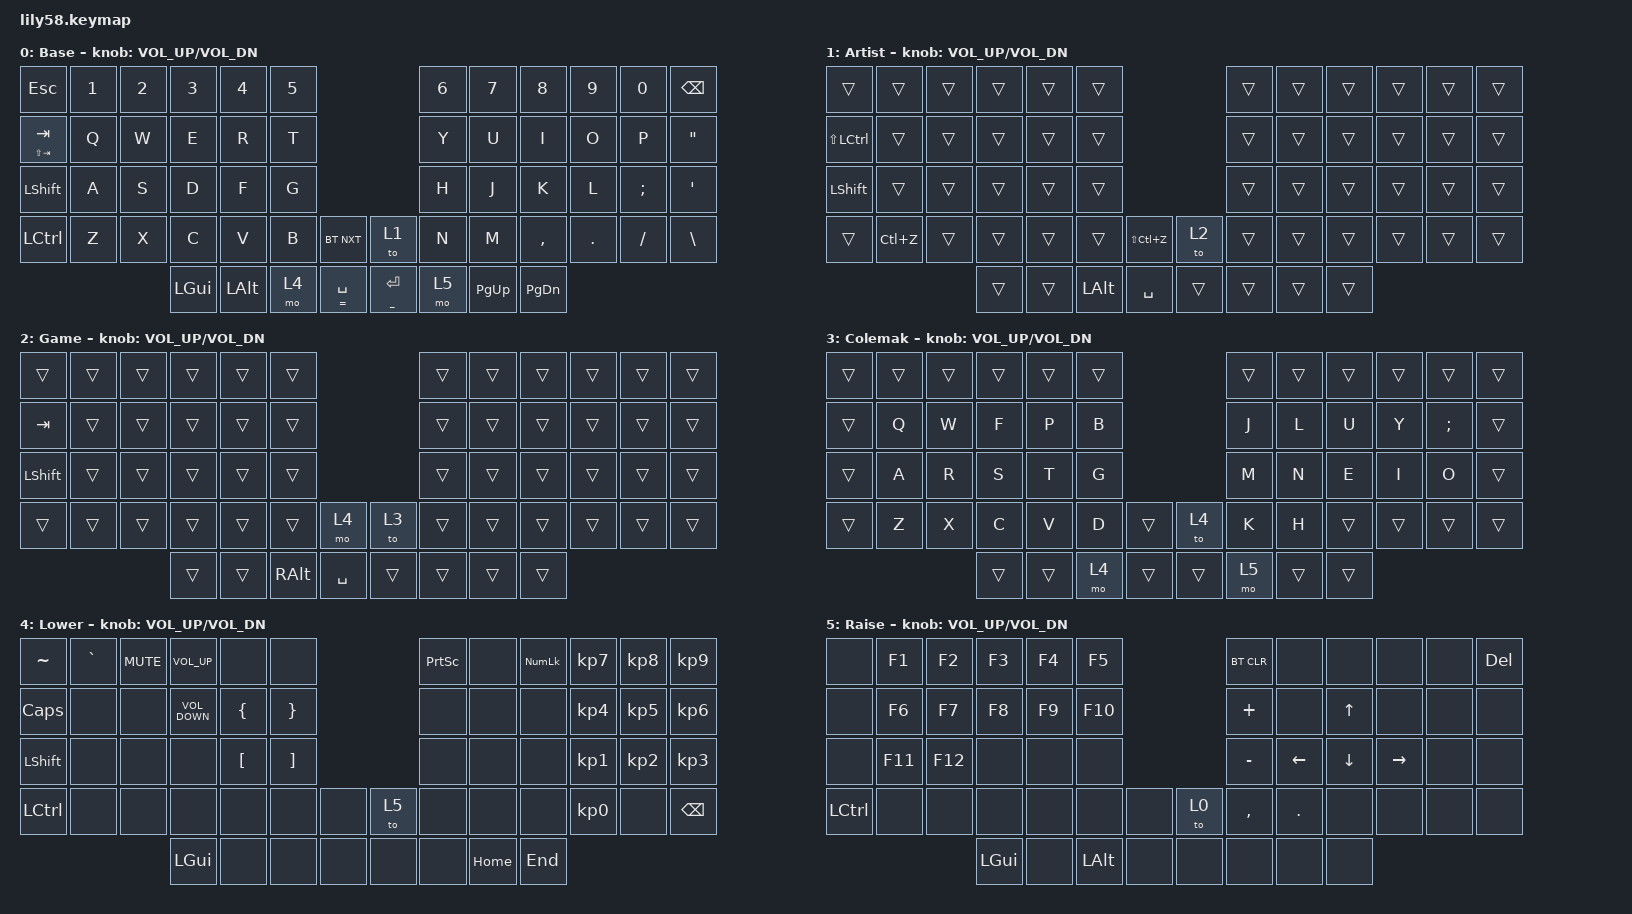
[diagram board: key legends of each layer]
/*
 * Copyright (c) 2020 The ZMK Contributors
 *
 * SPDX-License-Identifier: MIT
 */

#include <behaviors.dtsi>
#include <dt-bindings/zmk/bt.h>
#include <dt-bindings/zmk/keys.h>

/*
 * Merged from the ZMK Studio export lily58-2026-08-16.keymap.
 *
 * Layers: 0 Base, 1 Artist, 2 Game, 3 Colemak, 4 Lower, 5 Raise,.
 * Keys marked with * in the layout diagrams are hold-taps (&mt, tuned below):
 * TAB holds as shift+tab, SPACE holds as =, ENTER holds as _.
 *
 * The right center key cycles through every layer in order. Each layer binds
 * that position to &to <next layer>, shown as >LOWER, >RAISE, >ARTIST, >GAME
 * and >BASE in the diagrams, so repeated presses walk 0 -> 1 -> 2 -> 3 -> 4 -> 0.
 */

&mt {
    tapping-term-ms = <200>;
    require-prior-idle-ms = <100>;
    quick-tap-ms = <200>;
};

/ {
    keymap {
        compatible = "zmk,keymap";

        default_layer {
            // ------------------------------------------------------------------------------------------------------------
            // |  ESC  |   1   |   2   |   3   |   4   |   5   |                   |   6   |   7   |   8   |   9   |   0   |  BSPC |
            // |  TAB* |   Q   |   W   |   E   |   R   |   T   |                   |   Y   |   U   |   I   |   O   |   P   |   "   |
            // | SHIFT |   A   |   S   |   D   |   F   |   G   |                   |   H   |   J   |   K   |   L   |   ;   |   '   |
            // |  CTRL |   Z   |   X   |   C   |   V   |   B   | BT_NXT|  | >LOWER |   N   |   M   |   ,   |   .   |   /   |   \   |
            //                         |  GUI  |  ALT  | LOWER | SPACE*|  | ENTER* | RAISE | PG_UP | PG_DN |

            display-name = "Base";
            bindings = <
&kp ESC          &kp N1  &kp N2  &kp N3    &kp N4    &kp N5                                  &kp N6  &kp N7     &kp N8     &kp N9   &kp N0    &kp BSPC
&mt LS(TAB) TAB  &kp Q   &kp W   &kp E     &kp R     &kp T                                   &kp Y   &kp U      &kp I      &kp O    &kp P     &kp DQT
&kp LSHFT        &kp A   &kp S   &kp D     &kp F     &kp G                                   &kp H   &kp J      &kp K      &kp L    &kp SEMI  &kp SQT
&kp LCTRL        &kp Z   &kp X   &kp C     &kp V     &kp B   &bt BT_NXT       &to 1          &kp N   &kp M      &kp COMMA  &kp DOT  &kp FSLH  &kp BSLH
                                 &kp LGUI  &kp LALT  &mo 4   &mt EQUAL SPACE  &mt UNDER RET  &mo 5   &kp PG_UP  &kp PG_DN
            >;

            sensor-bindings = <&inc_dec_kp C_VOL_UP C_VOL_DN>;
        };

        artist_layer {
            // ------------------------------------------------------------------------------------------------------------
            // |       |       |       |       |       |       |                   |       |       |       |       |       |       |
            // | S+CTRL|       |       |       |       |       |                   |       |       |       |       |       |       |
            // | SHIFT |       |       |       |       |       |                   |       |       |       |       |       |       |
            // |       |  UNDO |       |       |       |       |  REDO |   | >GAME |       |       |       |       |       |       |
            //                         |       |       |  ALT  | SPACE |   |       |       |       |       |

            display-name = "Artist";
            bindings = <
&trans         &trans     &trans  &trans  &trans  &trans                           &trans  &trans  &trans  &trans  &trans  &trans
&kp LS(LCTRL)  &trans     &trans  &trans  &trans  &trans                           &trans  &trans  &trans  &trans  &trans  &trans
&kp LSHFT      &trans     &trans  &trans  &trans  &trans                           &trans  &trans  &trans  &trans  &trans  &trans
&trans         &kp LC(Z)  &trans  &trans  &trans  &trans    &kp LS(LC(Z))  &to 2   &trans  &trans  &trans  &trans  &trans  &trans
                                  &trans  &trans  &kp LALT  &kp SPACE      &trans  &trans  &trans  &trans
            >;

            sensor-bindings = <&inc_dec_kp C_VOL_UP C_VOL_DN>;
        };

        game_layer {
            // ------------------------------------------------------------------------------------------------------------
            // |       |       |       |       |       |       |                   |       |       |       |       |       |       |
            // |  TAB  |       |       |       |       |       |                   |       |       |       |       |       |       |
            // | SHIFT |       |       |       |       |       |                   |       |       |       |       |       |       |
            // |       |       |       |       |       |       |       |   | >BASE |       |       |       |       |       |       |
            //                         |       |       |  RALT | SPACE |   |       |       |       |       |

            display-name = "Game";
            bindings = <
&trans     &trans  &trans  &trans  &trans  &trans                       &trans  &trans  &trans  &trans  &trans  &trans
&kp TAB    &trans  &trans  &trans  &trans  &trans                       &trans  &trans  &trans  &trans  &trans  &trans
&kp LSHFT  &trans  &trans  &trans  &trans  &trans                       &trans  &trans  &trans  &trans  &trans  &trans
&trans     &trans  &trans  &trans  &trans  &trans    &mo 4      &to 3   &trans  &trans  &trans  &trans  &trans  &trans
                           &trans  &trans  &kp RALT  &kp SPACE  &trans  &trans  &trans  &trans
            >;

            sensor-bindings = <&inc_dec_kp C_VOL_UP C_VOL_DN>;
        };

        colemak_dh_layer {
            // ------------------------------------------------------------------------------------------------------------
            // |       |       |       |       |       |       |                   |       |       |       |       |       |       |
            // |       |   Q   |   W   |   F   |   P   |   B   |                   |   J   |   L   |   U   |   Y   |   ;   |       |
            // |       |   A   |   R   |   S   |   T   |   G   |                   |   M   |   N   |   E   |   I   |   O   |       |
            // |       |   Z   |   X   |   C   |   D   |   V   |       |   | >BASE |   K   |   H   |   ,   |   .   |   /   |       |
            //                         |       |       |       |       |   |       |       |       |       |

            display-name = "Colemak";
            bindings = <
&trans  &trans  &trans  &trans  &trans  &trans                  &trans  &trans  &trans     &trans   &trans    &trans
&trans  &kp Q   &kp W   &kp F   &kp P   &kp B                   &kp J   &kp L   &kp U      &kp Y    &kp SEMI  &trans
&trans  &kp A   &kp R   &kp S   &kp T   &kp G                   &kp M   &kp N   &kp E      &kp I    &kp O     &trans
&trans  &kp Z   &kp X   &kp C   &kp V   &kp D   &trans  &to 4   &kp K   &kp H   &trans     &trans   &trans    &trans
                        &trans  &trans  &mo 4   &trans  &trans  &mo 5  &trans  &trans
            >;

            sensor-bindings = <&inc_dec_kp C_VOL_UP C_VOL_DN>;
        };

        lower_layer {
            // ------------------------------------------------------------------------------------------------------------
            // |   ~   |   `   |  MUTE |  VOL+ |       |       |                   | PSCRN |       |  NUM  |   7   |   8   |   9   |
            // |  CAPS |       |       |  VOL- |   {   |   }   |                   |       |       |       |   4   |   5   |   6   |
            // | SHIFT |       |       |       |   [   |   ]   |                   |       |       |       |   1   |   2   |   3   |
            // |  CTRL |       |       |       |       |       |       |  | >RAISE |       |       |       |   0   |       |  BSPC |
            //                         |  GUI  |       |       |       |  |        |       |  HOME |  END  |

            display-name = "Lower";
            bindings = <
&kp TILDE  &kp GRAVE  &kp C_MUTE  &kp C_VOLUME_UP    &none     &none                         &kp PSCRN  &none     &kp KP_NUM  &kp KP_N7  &kp KP_N8  &kp KP_N9
&kp CAPS   &none      &none       &kp C_VOLUME_DOWN  &kp LBRC  &kp RBRC                      &none      &none     &none       &kp KP_N4  &kp KP_N5  &kp KP_N6
&kp LSHFT  &none      &none       &none              &kp LBKT  &kp RBKT                      &none      &none     &none       &kp KP_N1  &kp KP_N2  &kp KP_N3
&kp LCTRL  &none      &none       &none              &none     &none     &none    &to 5      &none      &none     &none       &kp KP_N0  &none      &kp BSPC
                                  &kp LGUI           &none     &none     &none    &none      &none      &kp HOME  &kp END
            >;

            sensor-bindings = <&inc_dec_kp C_VOL_UP C_VOL_DN>;
        };

        raise_layer {
            // ------------------------------------------------------------------------------------------------------------
            // |       |   F1  |   F2  |   F3  |   F4  |   F5  |                   | BT_CLR|       |       |       |       |  DEL  |
            // |       |   F6  |   F7  |   F8  |   F9  |  F10  |                   |   +   |       |   ^   |       |       |       |
            // |       |  F11  |  F12  |       |       |       |                   |   -   |   <-  |   v   |   ->  |       |       |
            // |  CTRL |       |       |       |       |       |       |   |>ARTIST|   ,   |   .   |       |       |       |       |
            //                         |  GUI  |       |  ALT  |       |   |       |       |       |       |

            display-name = "Raise";
            bindings = <
&none      &kp F1   &kp F2   &kp F3    &kp F4  &kp F5                  &bt BT_CLR  &none     &none     &none      &none  &kp DEL
&none      &kp F6   &kp F7   &kp F8    &kp F9  &kp F10                 &kp PLUS    &none     &kp UP    &none      &none  &none
&none      &kp F11  &kp F12  &none     &none   &none                   &kp MINUS   &kp LEFT  &kp DOWN  &kp RIGHT  &none  &none
&kp LCTRL  &none    &none    &none     &none   &none     &none  &to 0  &kp COMMA   &kp DOT   &none     &none      &none  &none
                             &kp LGUI  &none   &kp LALT  &none  &none  &none       &none     &none
            >;

            sensor-bindings = <&inc_dec_kp C_VOL_UP C_VOL_DN>;
        };

        extra_3 { status = "reserved"; };
    };


};
